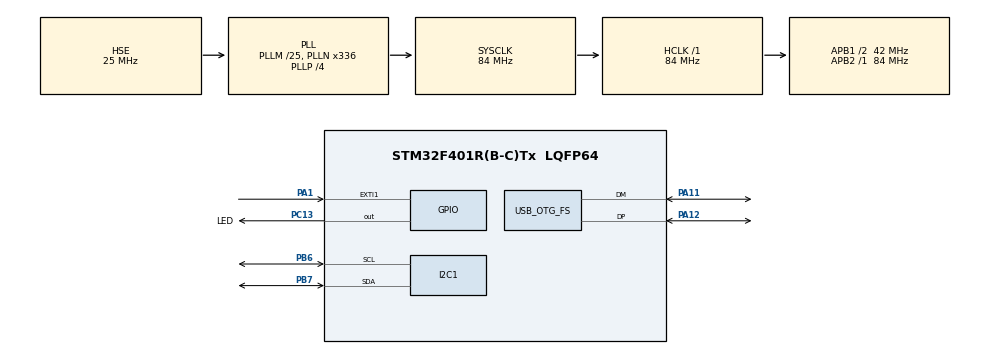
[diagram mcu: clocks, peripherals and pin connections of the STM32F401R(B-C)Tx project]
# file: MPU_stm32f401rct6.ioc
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FREERTOS.Tasks01=defaultTask,3,256,StartDefaultTask,Default,NULL,Static,defaultTaskBuffer,defaultTaskControlBlock;ButtonTask,0,128,Button_Task,Default,NULL,Static,ButtonTaskBuffer,ButtonTaskControlBlock
Mcu.Family=STM32F4
Mcu.Name=STM32F401R(B-C)Tx
Mcu.Package=LQFP64
NVIC.EXTI1_IRQn=true\:5\:0\:false\:false\:true\:true\:true\:true\:true
NVIC.OTG_FS_IRQn=true\:5\:0\:false\:false\:true\:true\:false\:true\:true
NVIC.PriorityGroup=NVIC_PRIORITYGROUP_4
NVIC.TIM3_IRQn=true\:15\:0\:false\:false\:true\:false\:false\:true\:true
NVIC.TimeBase=TIM3_IRQn
NVIC.TimeBaseIP=TIM3
PA1.GPIO_ModeDefaultEXTI=GPIO_MODE_IT_FALLING
PA1.Signal=GPXTI1
PA11.Mode=Device_Only
PA11.Signal=USB_OTG_FS_DM
PA12.Mode=Device_Only
PA12.Signal=USB_OTG_FS_DP
PA13.Mode=Trace_Asynchronous_SW
PA13.Signal=SYS_JTMS-SWDIO
PA14.Mode=Trace_Asynchronous_SW
PA14.Signal=SYS_JTCK-SWCLK
PB3.Mode=Trace_Asynchronous_SW
PB3.Signal=SYS_JTDO-SWO
PB6.Mode=I2C
PB6.Signal=I2C1_SCL
PB7.Mode=I2C
PB7.Signal=I2C1_SDA
PC13-ANTI_TAMP.GPIO_Label=LED
PC13-ANTI_TAMP.PinState=GPIO_PIN_SET
PC13-ANTI_TAMP.Signal=GPIO_Output
PH0\ -\ OSC_IN.Mode=HSE-External-Oscillator
PH0\ -\ OSC_IN.Signal=RCC_OSC_IN
PH1\ -\ OSC_OUT.Mode=HSE-External-Oscillator
PH1\ -\ OSC_OUT.Signal=RCC_OSC_OUT
ProjectManager.HeapSize=0x200
ProjectManager.StackSize=0x400
ProjectManager.TargetToolchain=STM32CubeIDE
RCC.48MHZClocksFreq_Value=48000000
RCC.AHBFreq_Value=84000000
RCC.APB1CLKDivider=RCC_HCLK_DIV2
RCC.APB1Freq_Value=42000000
RCC.APB1TimFreq_Value=84000000
RCC.APB2Freq_Value=84000000
RCC.APB2TimFreq_Value=84000000
RCC.CortexFreq_Value=84000000
RCC.HCLKFreq_Value=84000000
RCC.HSE_VALUE=25000000
RCC.HSI_VALUE=16000000
RCC.LSE_VALUE=32768
RCC.PLLM=25
RCC.PLLN=336
RCC.PLLP=RCC_PLLP_DIV4
RCC.PLLQ=7
RCC.SYSCLKFreq_VALUE=84000000
RCC.SYSCLKSource=RCC_SYSCLKSOURCE_PLLCLK
RCC.VCOOutputFreq_Value=336000000
USB_DEVICE.CLASS_NAME_FS=CDC
USB_DEVICE.VirtualMode=Cdc
USB_DEVICE.VirtualModeFS=Cdc_FS
USB_OTG_FS.VirtualMode=Device_Only
VP_FREERTOS_VS_CMSIS_V1.Mode=CMSIS_V1
VP_SYS_VS_tim3.Mode=TIM3
VP_USB_DEVICE_VS_USB_DEVICE_CDC_FS.Mode=CDC_FS
board=custom

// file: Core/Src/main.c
/* USER CODE BEGIN Header */
/**
  ******************************************************************************
  * @file           : main.c
  * @brief          : Main program body
  ******************************************************************************
  * @attention
  *
  * Copyright (c) 2025 STMicroelectronics.
  * All rights reserved.
  *
  * This software is licensed under terms that can be found in the LICENSE file
  * in the root directory of this software component.
  * If no LICENSE file comes with this software, it is provided AS-IS.
  *
  ******************************************************************************
  */
/* USER CODE END Header */
#include "main.h"
#include "cmsis_os.h"
#include "usb_device.h"

/* USER CODE BEGIN Includes */
#include "mpu_6050_task.h"
#include "usbd_cdc_if.h"
/* USER CODE END Includes */

I2C_HandleTypeDef hi2c1;

osThreadId defaultTaskHandle;
uint32_t defaultTaskBuffer[ 256 ];
osStaticThreadDef_t defaultTaskControlBlock;
osThreadId ButtonTaskHandle;
uint32_t ButtonTaskBuffer[ 128 ];
osStaticThreadDef_t ButtonTaskControlBlock;
/* USER CODE BEGIN PV */
MPU6050_t MPU6050;
/* USER CODE END PV */

void SystemClock_Config(void);
static void MX_GPIO_Init(void);
static void MX_I2C1_Init(void);
void StartDefaultTask(void const * argument);
void Button_Task(void const * argument);

int main(void)
{

  /* MCU Configuration--------------------------------------------------------*/

  /* Reset of all peripherals, Initializes the Flash interface and the Systick. */
  HAL_Init();

  /* Configure the system clock */
  SystemClock_Config();

  /* Initialize all configured peripherals */
  MX_GPIO_Init();
  MX_I2C1_Init();
  /* USER CODE BEGIN 2 */
  HAL_Delay(3000);
    MPU6050_Init(&hi2c1);
    CDC_Transmit_FS((uint8_t*) "MPU6050 Initialized\r\n", strlen("MPU6050 Initialized\r\n"));

  /* USER CODE END 2 */

  /* Create the thread(s) */
  /* definition and creation of defaultTask */
  osThreadStaticDef(defaultTask, StartDefaultTask, osPriorityRealtime, 0, 256, defaultTaskBuffer, &defaultTaskControlBlock);
  defaultTaskHandle = osThreadCreate(osThread(defaultTask), NULL);

  /* definition and creation of ButtonTask */
  osThreadStaticDef(ButtonTask, Button_Task, osPriorityNormal, 0, 128, ButtonTaskBuffer, &ButtonTaskControlBlock);
  ButtonTaskHandle = osThreadCreate(osThread(ButtonTask), NULL);

  /* Start scheduler */
  osKernelStart();

  /* We should never get here as control is now taken by the scheduler */

  /* Infinite loop */
  while (1)
  {

    /* USER CODE BEGIN 3 */
	 // MPU6050_Data(&hi2c1, &MPU6050);
	   // HAL_Delay(3000);

	  vTaskDelay(pdMS_TO_TICKS(10));

  }
  /* USER CODE END 3 */
}

void SystemClock_Config(void)
{
  RCC_OscInitTypeDef RCC_OscInitStruct = {0};
  RCC_ClkInitTypeDef RCC_ClkInitStruct = {0};

  /** Configure the main internal regulator output voltage
  */
  __HAL_RCC_PWR_CLK_ENABLE();
  __HAL_PWR_VOLTAGESCALING_CONFIG(PWR_REGULATOR_VOLTAGE_SCALE2);

  /** Initializes the RCC Oscillators according to the specified parameters
  * in the RCC_OscInitTypeDef structure.
  */
  RCC_OscInitStruct.OscillatorType = RCC_OSCILLATORTYPE_HSE;
  RCC_OscInitStruct.HSEState = RCC_HSE_ON;
  RCC_OscInitStruct.PLL.PLLState = RCC_PLL_ON;
  RCC_OscInitStruct.PLL.PLLSource = RCC_PLLSOURCE_HSE;
  RCC_OscInitStruct.PLL.PLLM = 25;
  RCC_OscInitStruct.PLL.PLLN = 336;
  RCC_OscInitStruct.PLL.PLLP = RCC_PLLP_DIV4;
  RCC_OscInitStruct.PLL.PLLQ = 7;
  if (HAL_RCC_OscConfig(&RCC_OscInitStruct) != HAL_OK)
  {
    Error_Handler();
  }

  /** Initializes the CPU, AHB and APB buses clocks
  */
  RCC_ClkInitStruct.ClockType = RCC_CLOCKTYPE_HCLK|RCC_CLOCKTYPE_SYSCLK
                              |RCC_CLOCKTYPE_PCLK1|RCC_CLOCKTYPE_PCLK2;
  RCC_ClkInitStruct.SYSCLKSource = RCC_SYSCLKSOURCE_PLLCLK;
  RCC_ClkInitStruct.AHBCLKDivider = RCC_SYSCLK_DIV1;
  RCC_ClkInitStruct.APB1CLKDivider = RCC_HCLK_DIV2;
  RCC_ClkInitStruct.APB2CLKDivider = RCC_HCLK_DIV1;

  if (HAL_RCC_ClockConfig(&RCC_ClkInitStruct, FLASH_LATENCY_2) != HAL_OK)
  {
    Error_Handler();
  }
}

static void MX_I2C1_Init(void)
{

  hi2c1.Instance = I2C1;
  hi2c1.Init.ClockSpeed = 100000;
  hi2c1.Init.DutyCycle = I2C_DUTYCYCLE_2;
  hi2c1.Init.OwnAddress1 = 0;
  hi2c1.Init.AddressingMode = I2C_ADDRESSINGMODE_7BIT;
  hi2c1.Init.DualAddressMode = I2C_DUALADDRESS_DISABLE;
  hi2c1.Init.OwnAddress2 = 0;
  hi2c1.Init.GeneralCallMode = I2C_GENERALCALL_DISABLE;
  hi2c1.Init.NoStretchMode = I2C_NOSTRETCH_DISABLE;
  if (HAL_I2C_Init(&hi2c1) != HAL_OK)
  {
    Error_Handler();
  }

}

static void MX_GPIO_Init(void)
{
  GPIO_InitTypeDef GPIO_InitStruct = {0};

  /* GPIO Ports Clock Enable */
  __HAL_RCC_GPIOC_CLK_ENABLE();
  __HAL_RCC_GPIOH_CLK_ENABLE();
  __HAL_RCC_GPIOA_CLK_ENABLE();
  __HAL_RCC_GPIOB_CLK_ENABLE();

  /*Configure GPIO pin Output Level */
  HAL_GPIO_WritePin(LED_GPIO_Port, LED_Pin, GPIO_PIN_SET);

  /*Configure GPIO pin : LED_Pin */
  GPIO_InitStruct.Pin = LED_Pin;
  GPIO_InitStruct.Mode = GPIO_MODE_OUTPUT_PP;
  GPIO_InitStruct.Pull = GPIO_NOPULL;
  GPIO_InitStruct.Speed = GPIO_SPEED_FREQ_LOW;
  HAL_GPIO_Init(LED_GPIO_Port, &GPIO_InitStruct);

  /*Configure GPIO pin : PA1 */
  GPIO_InitStruct.Pin = GPIO_PIN_1;
  GPIO_InitStruct.Mode = GPIO_MODE_IT_FALLING;
  GPIO_InitStruct.Pull = GPIO_NOPULL;
  HAL_GPIO_Init(GPIOA, &GPIO_InitStruct);

  /* EXTI interrupt init*/
  HAL_NVIC_SetPriority(EXTI1_IRQn, 5, 0);
  HAL_NVIC_EnableIRQ(EXTI1_IRQn);

}

/* USER CODE BEGIN 4 */

void HAL_GPIO_EXTI_Callback(uint16_t GPIO_Pin)
{
  if (GPIO_Pin == GPIO_PIN_1)
  {
    BaseType_t xHigherPriorityTaskWoken = pdFALSE;
    vTaskNotifyGiveFromISR(ButtonTaskHandle, &xHigherPriorityTaskWoken);
    portYIELD_FROM_ISR(xHigherPriorityTaskWoken);
  }
}

/* USER CODE END 4 */

void StartDefaultTask(void const * argument)
{
  /* init code for USB_DEVICE */
  MX_USB_DEVICE_Init();
  /* USER CODE BEGIN 5 */
  /* Infinite loop */
  for(;;)
  {
	  MPU6050_Data(&hi2c1, &MPU6050);
	 	  	  vTaskDelay(pdMS_TO_TICKS(3000)); // Use FreeRTOS delay
	 	  	  }
  /* USER CODE END 5 */
}

void Button_Task(void const * argument)
{
  /* USER CODE BEGIN Button_Task */
  /* Infinite loop */
  for(;;)
  {
	  ulTaskNotifyTake(pdTRUE, portMAX_DELAY);
	      CDC_Transmit_FS((uint8_t*)"Button Pressed via FreeRTOS!\r\n", strlen("Button Pressed via FreeRTOS!\r\n"));
	      HAL_GPIO_TogglePin(LED_GPIO_Port, LED_Pin);
  }
  /* USER CODE END Button_Task */
}

void HAL_TIM_PeriodElapsedCallback(TIM_HandleTypeDef *htim)
{
  if (htim->Instance == TIM3)
  {
    HAL_IncTick();
  }
}

void Error_Handler(void)
{
  __disable_irq();
  while (1)
  {
  }
}
